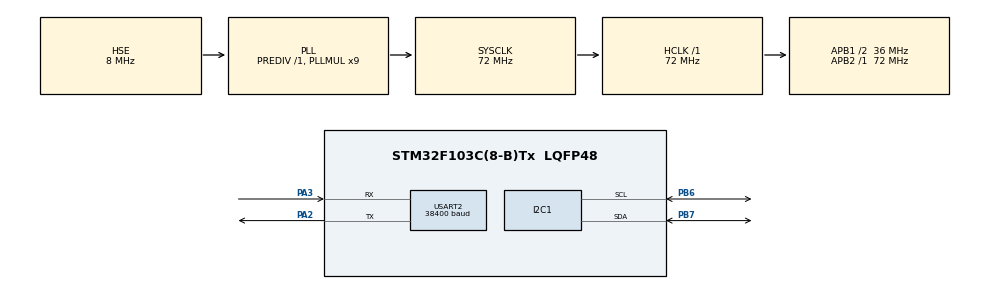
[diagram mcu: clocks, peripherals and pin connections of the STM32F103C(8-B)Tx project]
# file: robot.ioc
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Mcu.Family=STM32F1
Mcu.Name=STM32F103C(8-B)Tx
Mcu.Package=LQFP48
NVIC.PriorityGroup=NVIC_PRIORITYGROUP_4
NVIC.USART2_IRQn=true\:0\:0\:false\:false\:true\:true\:true
PA13.Mode=Serial_Wire
PA13.Signal=SYS_JTMS-SWDIO
PA14.Mode=Serial_Wire
PA14.Signal=SYS_JTCK-SWCLK
PA2.Mode=Asynchronous
PA2.Signal=USART2_TX
PA3.Mode=Asynchronous
PA3.Signal=USART2_RX
PB6.Mode=I2C
PB6.Signal=I2C1_SCL
PB7.Mode=I2C
PB7.Signal=I2C1_SDA
PD0-OSC_IN.Mode=HSE-External-Oscillator
PD0-OSC_IN.Signal=RCC_OSC_IN
PD1-OSC_OUT.Mode=HSE-External-Oscillator
PD1-OSC_OUT.Signal=RCC_OSC_OUT
ProjectManager.HeapSize=0x200
ProjectManager.StackSize=0x400
ProjectManager.TargetToolchain=MDK-ARM V5
RCC.AHBFreq_Value=72000000
RCC.APB1CLKDivider=RCC_HCLK_DIV2
RCC.APB1Freq_Value=36000000
RCC.APB1TimFreq_Value=72000000
RCC.APB2Freq_Value=72000000
RCC.APB2TimFreq_Value=72000000
RCC.HCLKFreq_Value=72000000
RCC.PLLMUL=RCC_PLL_MUL9
RCC.PLLSourceVirtual=RCC_PLLSOURCE_HSE
RCC.SYSCLKFreq_VALUE=72000000
RCC.SYSCLKSource=RCC_SYSCLKSOURCE_PLLCLK
RCC.USBFreq_Value=72000000
USART2.BaudRate=38400
USART2.VirtualMode=VM_ASYNC
board=custom

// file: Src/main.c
/* USER CODE BEGIN Header */
/**
  ******************************************************************************
  * @file           : main.c
  * @brief          : Main program body
  ******************************************************************************
  * @attention
  *
  * <h2><center>&copy; Copyright (c) 2022 STMicroelectronics.
  * All rights reserved.</center></h2>
  *
  * This software component is licensed by ST under BSD 3-Clause license,
  * the "License"; You may not use this file except in compliance with the
  * License. You may obtain a copy of the License at:
  *                        opensource.org/licenses/BSD-3-Clause
  *
  ******************************************************************************
  */
/* USER CODE END Header */

#include "main.h"
#include "i2c.h"
#include "usart.h"
#include "gpio.h"

/* USER CODE BEGIN Includes */
//#include "pca9685.h"
#include "motionControl.h"
#include "stdio.h"

/* USER CODE END Includes */

/* USER CODE BEGIN PV */
uint8_t RxBuf[1];
uint8_t flag = 0;
/* USER CODE END PV */

void SystemClock_Config(void);

int main(void)
{

  /* MCU Configuration--------------------------------------------------------*/

  /* Reset of all peripherals, Initializes the Flash interface and the Systick. */
  HAL_Init();

  /* Configure the system clock */
  SystemClock_Config();

  /* Initialize all configured peripherals */
  MX_GPIO_Init();
  MX_I2C1_Init();
  MX_USART2_UART_Init();
  /* USER CODE BEGIN 2 */
	//PCA9685_Go();
	motionInit(50);
	HAL_UART_Receive_IT(&huart2,(uint8_t *)RxBuf,1); //
	//printf("hello world");
	/* USER CODE BEGIN 4 */

/* USER CODE END 4 */

	//robotStand();
  /* USER CODE END 2 */

  /* Infinite loop */
  while (1)
  {

    /* USER CODE BEGIN 3 */
		if (flag == 0) {
			//flag = 1;
			robotStand();
			HAL_Delay(10);
		}
		if (flag == 1) {
			forward();
		}

		//setTheta(LeftFront_hip, 90); //105

//		printf("hello\n");
//		HAL_Delay(1000);
  }
  /* USER CODE END 3 */
}

void SystemClock_Config(void)
{
  RCC_OscInitTypeDef RCC_OscInitStruct = {0};
  RCC_ClkInitTypeDef RCC_ClkInitStruct = {0};

  /** Initializes the CPU, AHB and APB busses clocks
  */
  RCC_OscInitStruct.OscillatorType = RCC_OSCILLATORTYPE_HSE;
  RCC_OscInitStruct.HSEState = RCC_HSE_ON;
  RCC_OscInitStruct.HSEPredivValue = RCC_HSE_PREDIV_DIV1;
  RCC_OscInitStruct.HSIState = RCC_HSI_ON;
  RCC_OscInitStruct.PLL.PLLState = RCC_PLL_ON;
  RCC_OscInitStruct.PLL.PLLSource = RCC_PLLSOURCE_HSE;
  RCC_OscInitStruct.PLL.PLLMUL = RCC_PLL_MUL9;
  if (HAL_RCC_OscConfig(&RCC_OscInitStruct) != HAL_OK)
  {
    Error_Handler();
  }
  /** Initializes the CPU, AHB and APB busses clocks
  */
  RCC_ClkInitStruct.ClockType = RCC_CLOCKTYPE_HCLK|RCC_CLOCKTYPE_SYSCLK
                              |RCC_CLOCKTYPE_PCLK1|RCC_CLOCKTYPE_PCLK2;
  RCC_ClkInitStruct.SYSCLKSource = RCC_SYSCLKSOURCE_PLLCLK;
  RCC_ClkInitStruct.AHBCLKDivider = RCC_SYSCLK_DIV1;
  RCC_ClkInitStruct.APB1CLKDivider = RCC_HCLK_DIV2;
  RCC_ClkInitStruct.APB2CLKDivider = RCC_HCLK_DIV1;

  if (HAL_RCC_ClockConfig(&RCC_ClkInitStruct, FLASH_LATENCY_2) != HAL_OK)
  {
    Error_Handler();
  }
}

/* USER CODE BEGIN 4 */
void HAL_UART_RxCpltCallback(UART_HandleTypeDef *huart) {
	HAL_UART_Receive_IT(&huart2,(uint8_t *)RxBuf,1);

	if (RxBuf[0] == '0') {
		flag = 0;
	} else if( RxBuf[0] == '1') {
		flag = 1;
	} else {
		flag = 0;
	}
}
/* USER CODE END 4 */

void Error_Handler(void)
{
}

/************************ (C) COPYRIGHT STMicroelectronics *****END OF FILE****/
